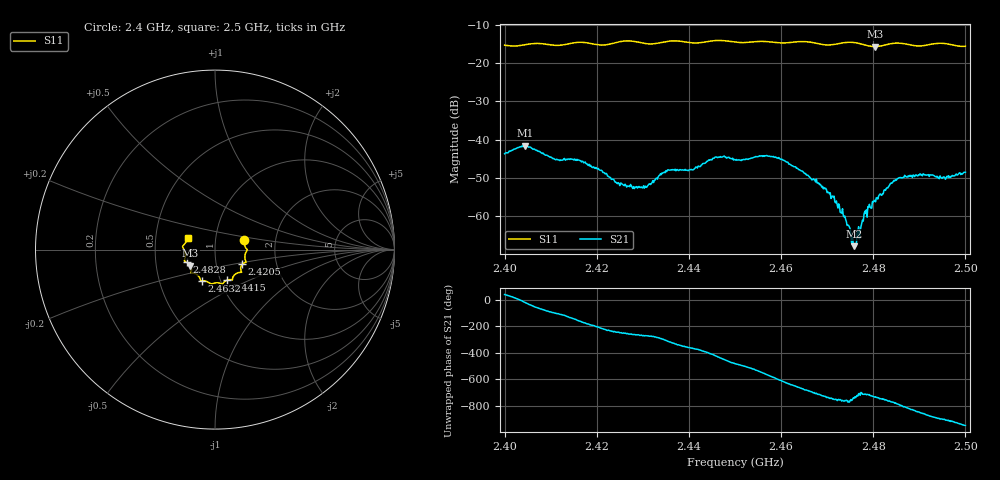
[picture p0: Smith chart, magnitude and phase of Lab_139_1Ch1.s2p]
# Hz S RI R 50
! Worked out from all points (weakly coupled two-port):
!   601 points, 2.4 GHz to 2.5 GHz, reference 50 ohm
!   highest |S21| = -41.57 dB at 2.4045 GHz (marker M1); lowest = -67.8 dB at 2.4758 GHz (marker M2)
!   lowest |S11| = -15.7 dB at 2.4803 GHz (marker M3), VSWR 1.39, Z = 37.4 - j6.83 ohm
!   |S11| at or under -10 dB: start of sweep to end of sweep
!   S12 and S22 are empty: the file has one direction only
!   S11 on the Smith chart (normalised r, x): 2.4 GHz: 1.38, +0.15; 2.4205 GHz: 1.34, -0.22; 2.4415 GHz: 1.07, -0.38; 2.4632 GHz: 0.82, -0.29; 2.4828 GHz: 0.72, -0.10; 2.5 GHz: 0.73, +0.10
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2.4e9  0.1631 0.0514  0.00497 0.00425  0 0  0 0
2.4045e9  0.1736 0.00695  0.00783 -0.0029  0 0  0 0
2.411e9  0.1681 -0.0258  -0.00101 -0.0054  0 0  0 0
2.416667e9  0.173 -0.0697  -0.00493 -0.00139  0 0  0 0
2.4205e9  0.1518 -0.0815  -0.00361 0.00185  0 0  0 0
2.428333e9  0.1427 -0.1268  -0.000308 0.00238  0 0  0 0
2.433333e9  0.1006 -0.1518  0.000879 0.00315  0 0  0 0
2.4415e9  0.0655 -0.1705  0.00431 -0.000856  0 0  0 0
2.445667e9  0.0423 -0.1917  0.00288 -0.00517  0 0  0 0
2.45e9  0.0242 -0.1861  -0.00289 -0.00466  0 0  0 0
2.457e9  -0.0259 -0.1888  -0.00556 0.00271  0 0  0 0
2.463167e9  -0.073 -0.174  0.00162 0.0041  0 0  0 0
2.466667e9  -0.0818 -0.1671  0.0027 0.00128  0 0  0 0
2.471667e9  -0.1153 -0.1322  0.00131 -0.000817  0 0  0 0
2.474333e9  -0.1328 -0.1304  0.000581 -0.000483  0 0  0 0
2.475833e9  -0.1336 -0.1287  0.000374 -0.000159  0 0  0 0
2.4785e9  -0.1305 -0.1092  0.00121 8.7e-05  0 0  0 0
2.480333e9  -0.1377 -0.0889  0.00156 -0.000394  0 0  0 0
2.482833e9  -0.1587 -0.0703  0.00186 -0.00137  0 0  0 0
2.483333e9  -0.1626 -0.0684  0.00173 -0.00172  0 0  0 0
2.487333e9  -0.1681 -0.053  -0.000247 -0.00323  0 0  0 0
2.5e9  -0.1526 0.0644  -0.00251 0.00279  0 0  0 0
